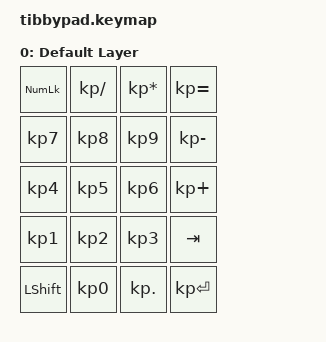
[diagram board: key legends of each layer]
#include <behaviors.dtsi>
#include <dt-bindings/zmk/keys.h>

/ {
	keymap {
		compatible = "zmk,keymap";

		default_kayer {
			display-name = "Default Layer";
			bindings = <
				&kp KP_NUMLOCK	&kp KP_DIVIDE	&kp KP_MULTIPLY	&kp KP_EQUAL
				&kp KP_N7	&kp KP_N8	&kp KP_N9	&kp KP_MINUS
				&kp KP_N4	&kp KP_N5	&kp KP_N6	&kp KP_PLUS
				&kp KP_N1	&kp KP_N2	&kp KP_N3	&kp TAB
				&kp LEFT_SHIFT	&kp KP_N0	&kp KP_DOT	&kp KP_ENTER
			>;
		};
	};
};
